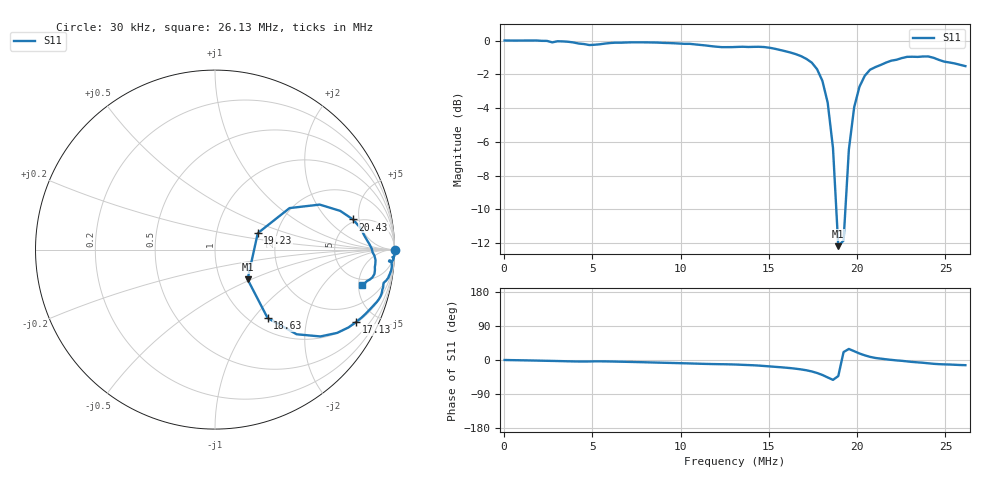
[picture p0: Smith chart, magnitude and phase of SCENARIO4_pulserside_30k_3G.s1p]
!Agilent N9914A: A.07.26
!Date: Monday, 20 February 2023 13:10:43
!Model: N9914A
!Serial: MY53102584
!GPS Latitude:
!GPS Longitude:
!GPS TimeStamp: 0001-01-01 00:00:00Z
!GPS Seconds Since Last Read: 0
!CHECKSUM:0668027985
!Correction: S11(ON U)
!S1P File: Measurement: S11:
# Hz S DB R 50
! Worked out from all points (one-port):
!   88 points, 30 kHz to 26.13 MHz, reference 50 ohm
!   lowest |S11| = -12.2 dB at 18.93 MHz (marker M1), VSWR 1.65, Z = 67.4 - j23.7 ohm
!   |S11| at or under -10 dB: 18.82 MHz to 19.33 MHz (515.9 kHz wide, 2.7 % of centre)
!   S11 on the Smith chart (normalised r, x): 30 kHz: open; 17.13 MHz: 1.05, -3.87; 18.63 MHz: 1.19, -1.18; 19.23 MHz: 1.59, +0.31; 20.43 MHz: 4.67, +4.12; 26.13 MHz: 4.03, -5.46
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30000  0.02 0.0
3329967  -0.04 -3.1
4829952  -0.25 -3.8
5729943  -0.16 -3.6
6629934  -0.11 -4.6
9929901  -0.16 -8.4
1.322987e7  -0.36 -12.2
1.472985e7  -0.37 -15.8
1.652984e7  -0.79 -23.0
1.712983e7  -1.08 -27.2
1.742983e7  -1.30 -30.2
1.772982e7  -1.69 -34.3
1.802982e7  -2.38 -39.5
1.832982e7  -3.67 -46.0
1.862981e7  -6.36 -52.4
1.892981e7  -12.19 -42.4
1.922981e7  -11.85 21.0
1.95298e7  -6.46 29.1
1.98298e7  -3.94 23.3
2.01298e7  -2.73 17.2
2.04298e7  -2.08 12.3
2.072979e7  -1.72 8.3
2.102979e7  -1.56 5.4
2.162978e7  -1.29 1.9
2.312977e7  -0.95 -5.2
2.402976e7  -0.93 -8.7
2.462975e7  -1.13 -11.0
2.612974e7  -1.50 -13.6
